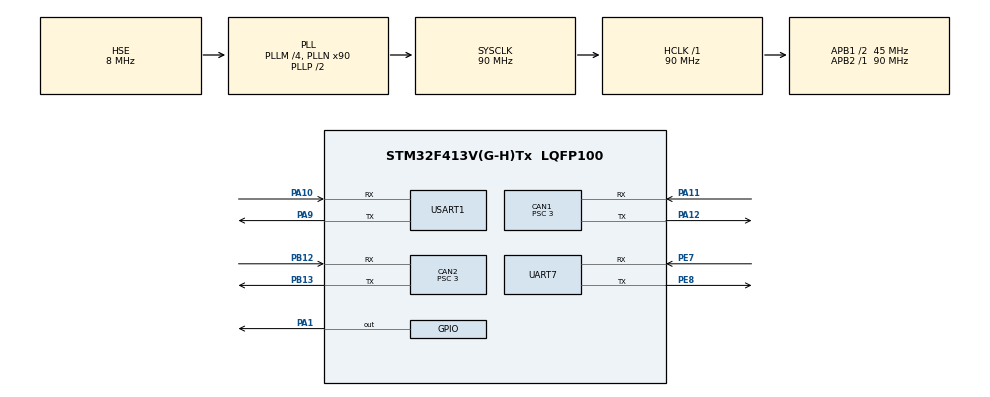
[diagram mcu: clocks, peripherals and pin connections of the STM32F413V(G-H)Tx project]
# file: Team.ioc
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CAN1.BS1=CAN_BS1_10TQ
CAN1.BS2=CAN_BS2_4TQ
CAN1.CalculateBaudRate=1000000
CAN1.CalculateTimeBit=1000
CAN1.CalculateTimeQuantum=66.66666666666666
CAN1.Prescaler=3
CAN2.BS1=CAN_BS1_10TQ
CAN2.BS2=CAN_BS2_4TQ
CAN2.CalculateBaudRate=1000000
CAN2.CalculateTimeBit=1000
CAN2.CalculateTimeQuantum=66.66666666666666
CAN2.Prescaler=3
Mcu.Family=STM32F4
Mcu.Name=STM32F413V(G-H)Tx
Mcu.Package=LQFP100
NVIC.CAN1_RX0_IRQn=true\:0\:0\:false\:false\:true\:true\:true\:true
NVIC.CAN1_RX1_IRQn=true\:0\:0\:false\:false\:true\:true\:true\:true
NVIC.CAN2_RX0_IRQn=true\:0\:0\:false\:false\:true\:true\:true\:true
NVIC.CAN2_RX1_IRQn=true\:0\:0\:false\:false\:true\:true\:true\:true
NVIC.PriorityGroup=NVIC_PRIORITYGROUP_4
NVIC.UART7_IRQn=true\:0\:0\:false\:false\:true\:true\:true\:true
NVIC.USART1_IRQn=true\:0\:0\:false\:false\:true\:true\:true\:true
PA1.GPIO_Speed=GPIO_SPEED_FREQ_VERY_HIGH
PA1.Signal=GPIO_Output
PA10.Mode=Asynchronous
PA10.Signal=USART1_RX
PA11.Mode=CAN_Activate
PA11.Signal=CAN1_RX
PA12.Mode=CAN_Activate
PA12.Signal=CAN1_TX
PA13.Mode=Serial_Wire
PA13.Signal=SYS_JTMS-SWDIO
PA14.Mode=Serial_Wire
PA14.Signal=SYS_JTCK-SWCLK
PA9.Mode=Asynchronous
PA9.Signal=USART1_TX
PB12.Mode=CAN_Activate
PB12.Signal=CAN2_RX
PB13.Mode=CAN_Activate
PB13.Signal=CAN2_TX
PE7.Mode=Asynchronous
PE7.Signal=UART7_RX
PE8.Mode=Asynchronous
PE8.Signal=UART7_TX
PH0\ -\ OSC_IN.Mode=HSE-External-Oscillator
PH0\ -\ OSC_IN.Signal=RCC_OSC_IN
PH1\ -\ OSC_OUT.Mode=HSE-External-Oscillator
PH1\ -\ OSC_OUT.Signal=RCC_OSC_OUT
ProjectManager.HeapSize=0x200
ProjectManager.StackSize=0x400
ProjectManager.TargetToolchain=MDK-ARM V5.32
RCC.AHBFreq_Value=90000000
RCC.APB1CLKDivider=RCC_HCLK_DIV2
RCC.APB1Freq_Value=45000000
RCC.APB1TimFreq_Value=90000000
RCC.APB2Freq_Value=90000000
RCC.APB2TimFreq_Value=90000000
RCC.CortexFreq_Value=90000000
RCC.HCLKFreq_Value=90000000
RCC.HSE_VALUE=8000000
RCC.PLLM=4
RCC.PLLN=90
RCC.PLLSourceVirtual=RCC_PLLSOURCE_HSE
RCC.SYSCLKFreq_VALUE=90000000
RCC.SYSCLKSource=RCC_SYSCLKSOURCE_PLLCLK
RCC.USBFreq_Value=90000000
RCC.VCOOutputFreq_Value=180000000
UART7.VirtualMode=Asynchronous
USART1.VirtualMode=VM_ASYNC
board=custom

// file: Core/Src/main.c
/* USER CODE BEGIN Header */
/**
  ******************************************************************************
  * @file           : main.c
  * @brief          : Main program body
  ******************************************************************************
  * @attention
  *
  * Copyright (c) 2023 STMicroelectronics.
  * All rights reserved.
  *
  * This software is licensed under terms that can be found in the LICENSE file
  * in the root directory of this software component.
  * If no LICENSE file comes with this software, it is provided AS-IS.
  *
  ******************************************************************************
  */
/* USER CODE END Header */
#include "main.h"
#include "can.h"
#include "usart.h"
#include "gpio.h"

/* USER CODE BEGIN Includes */
#include "can_database.h"
#include "com_chassis.h"
#include "pid.h"
#include "dji_motor.h"
#include "basic_action.h"
#include "fixed.h"
#include "grab.h"
/* USER CODE END Includes */

void SystemClock_Config(void);

/* USER CODE BEGIN 0 */
uint32_t time[4]={0};
/* USER CODE END 0 */

int main(void)
{

  /* MCU Configuration--------------------------------------------------------*/

  /* Reset of all peripherals, Initializes the Flash interface and the Systick. */
  HAL_Init();

  /* Configure the system clock */
  SystemClock_Config();

  /* Initialize all configured peripherals */
  MX_GPIO_Init();
  MX_CAN1_Init();
  MX_UART7_Init();
  MX_CAN2_Init();
  MX_USART1_UART_Init();
  /* USER CODE BEGIN 2 */
  Can_start_work();
  Pid_parameter_init();
  HAL_UART_Receive_IT(&huart1,&recv_data,1);
  HAL_UART_Receive_IT(&huart7,&recv_data,1);
  /* USER CODE END 2 */

  /* Infinite loop */
  /* USER CODE BEGIN WHILE */
  USART_printf("ok\n");
  while (1)
  {

    /* USER CODE END WHILE */

    /* USER CODE BEGIN 3 */
      Change_dji_speed(1,50);
  }
  /* USER CODE END 3 */
}

void SystemClock_Config(void)
{
  RCC_OscInitTypeDef RCC_OscInitStruct = {0};
  RCC_ClkInitTypeDef RCC_ClkInitStruct = {0};

  /** Configure the main internal regulator output voltage
  */
  __HAL_RCC_PWR_CLK_ENABLE();
  __HAL_PWR_VOLTAGESCALING_CONFIG(PWR_REGULATOR_VOLTAGE_SCALE1);

  /** Initializes the RCC Oscillators according to the specified parameters
  * in the RCC_OscInitTypeDef structure.
  */
  RCC_OscInitStruct.OscillatorType = RCC_OSCILLATORTYPE_HSE;
  RCC_OscInitStruct.HSEState = RCC_HSE_ON;
  RCC_OscInitStruct.PLL.PLLState = RCC_PLL_ON;
  RCC_OscInitStruct.PLL.PLLSource = RCC_PLLSOURCE_HSE;
  RCC_OscInitStruct.PLL.PLLM = 4;
  RCC_OscInitStruct.PLL.PLLN = 90;
  RCC_OscInitStruct.PLL.PLLP = RCC_PLLP_DIV2;
  RCC_OscInitStruct.PLL.PLLQ = 2;
  RCC_OscInitStruct.PLL.PLLR = 2;
  if (HAL_RCC_OscConfig(&RCC_OscInitStruct) != HAL_OK)
  {
    Error_Handler();
  }

  /** Initializes the CPU, AHB and APB buses clocks
  */
  RCC_ClkInitStruct.ClockType = RCC_CLOCKTYPE_HCLK|RCC_CLOCKTYPE_SYSCLK
                              |RCC_CLOCKTYPE_PCLK1|RCC_CLOCKTYPE_PCLK2;
  RCC_ClkInitStruct.SYSCLKSource = RCC_SYSCLKSOURCE_PLLCLK;
  RCC_ClkInitStruct.AHBCLKDivider = RCC_SYSCLK_DIV1;
  RCC_ClkInitStruct.APB1CLKDivider = RCC_HCLK_DIV2;
  RCC_ClkInitStruct.APB2CLKDivider = RCC_HCLK_DIV1;

  if (HAL_RCC_ClockConfig(&RCC_ClkInitStruct, FLASH_LATENCY_3) != HAL_OK)
  {
    Error_Handler();
  }
}

/* USER CODE BEGIN 4 */
void HAL_UART_RxCpltCallback(UART_HandleTypeDef *huart){
    static int x=0,y=0,z=0,x1=0,y1=0,z1=0;//前后分别描述点/球的位置、桶的位置
    static int i=0;
    static int mark=0;//用于判断执行3or4
    static char ball[13]={'0'};
    //视觉串口返回球/桶的数据存入数组;约定视觉通过串口发送球数据格式为#数数数#数数数#数数数#,桶数据格式为!数数数!数数数!数数数!
    if(huart->Instance==UART7){
      //任务1部分
      if(recv_data=='a')
      {
//          x=300;y=0;z=0;
//          Draw_target_loc(x,y,z);
          Touch_fixed_point(8191,8191*2,8191*3);
      }
      else if(recv_data=='b')
      {
          x=200;y=50;z=150;
          Draw_target_loc(x,y,z);
          Touch_fixed_point(loc1,loc2,loc3);
      }
      else if(recv_data=='c')
      {
          x=-150;y=-150;z=50;
          Draw_target_loc(x,y,z);
          Touch_fixed_point(loc1,loc2,loc3);
      }
      //任务2部分
      else if(recv_data=='s')
      {
          while(flag==0||flag==1)
          {
                x=0;y=300;z=75;
                x1=0;y1=-300;z1=175;
                Transfer_the_ball(x,y,z,x1,y1,z1);
          }
          flag=0;
      }
      HAL_UART_Receive_IT(&huart7,&recv_data,1);
    }
    else if(huart->Instance==USART1){
      //任务3部分
      if(((recv_data>'0'&&recv_data<'9')||recv_data=='#')&&mark==0)
      {
          if(i<13)
          {
                ball[i]=recv_data;
                i++;
          }
          if(ball[12]=='#')
          {
              x=(ball[1]-'0')*100+(ball[2]-'0')*10+(ball[3]-'0')*1;
              y=(ball[5]-'0')*100+(ball[6]-'0')*10+(ball[7]-'0')*1;
              z=(ball[9]-'0')*100+(ball[10]-'0')*10+(ball[11]-'0')*1;
              USART_printf("x=%d,y=%d,z=%d",x,y,z);
              x1=0;y1=-300;z1=175;
              while(flag==0||flag==1)
              {
                  Transfer_the_ball(x,y,z,x1,y1,z1);
              }
              flag=0;
              i=0;
              ball[12]='0';
              mark=1;
          }
      }
      //任务4部分
      else if((recv_data=='#'||recv_data=='!'||(recv_data<'9'&&recv_data>'0'))&&mark==1)
      {
          if(i<13)
          {
              ball[i]=recv_data;
              i++;
          }
          if(i==13&&ball[12]=='#')
          {
              x=(ball[1]-'0')*100+(ball[2]-'0')*10+(ball[3]-'0')*1;
              y=(ball[5]-'0')*100+(ball[6]-'0')*10+(ball[7]-'0')*1;
              z=(ball[9]-'0')*100+(ball[10]-'0')*10+(ball[11]-'0')*1;
              //缺少坐标转换
              USART_printf("ball:%d,%d,%d",x,y,z);
              i=0;
              ball[12]='0';
          }
          else if(i==13&&ball[12]=='!')
          {
              x1=(ball[1]-'0')*100+(ball[2]-'0')*10+(ball[3]-'0')*1;
              y1=(ball[5]-'0')*100+(ball[6]-'0')*10+(ball[7]-'0')*1;
              z1=(ball[9]-'0')*100+(ball[10]-'0')*10+(ball[11]-'0')*1;
              //缺少坐标转换
              USART_printf("pail:%d,%d,%d",x1,y1,z1);
              while(flag==0||flag==1)
              {
                  Transfer_the_ball(x,y,z,x1,y1,z1);
              }
              flag=0;
          }
      }
      HAL_UART_Receive_IT(&huart1,&recv_data,1);
    }
}
/* USER CODE END 4 */

void Error_Handler(void)
{
  __disable_irq();
  while (1)
  {
  }
}
